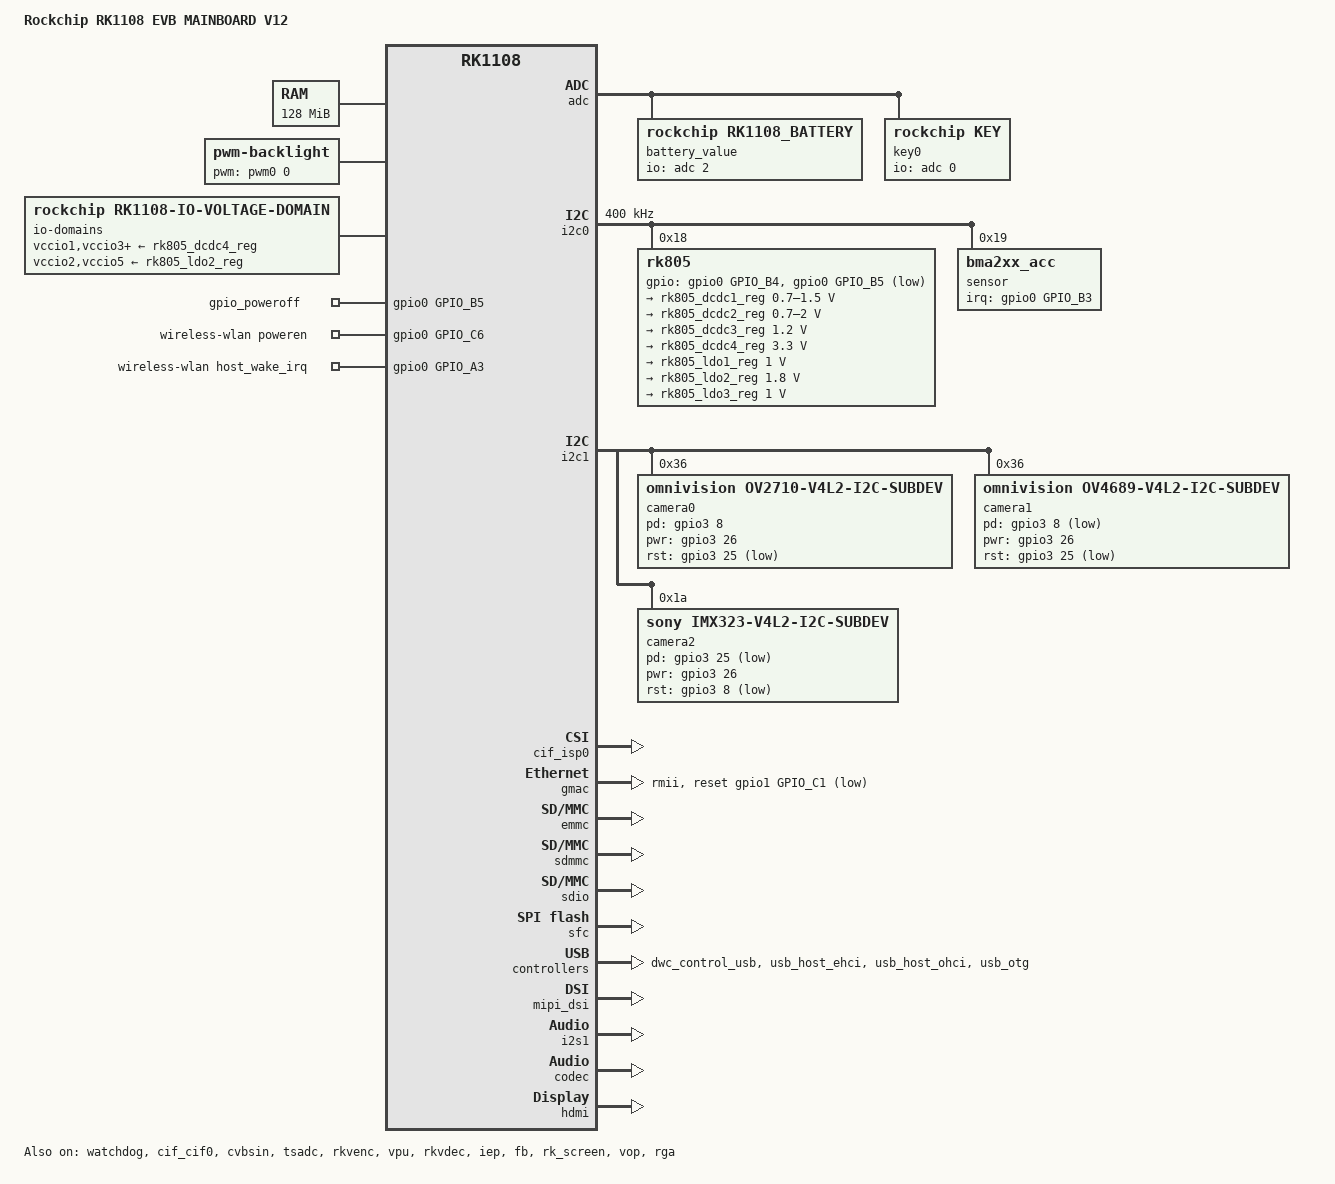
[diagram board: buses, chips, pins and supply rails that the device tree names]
/*
 * Copyright (c) 2016 Fuzhou Rockchip Electronics Co., Ltd
 *
 * This file is dual-licensed: you can use it either under the terms
 * of the GPL or the X11 license, at your option. Note that this dual
 * licensing only applies to this file, and not this project as a
 * whole.
 *
 *  a) This file is free software; you can redistribute it and/or
 *     modify it under the terms of the GNU General Public License as
 *     published by the Free Software Foundation; either version 2 of the
 *     License, or (at your option) any later version.
 *
 *     This file is distributed in the hope that it will be useful,
 *     but WITHOUT ANY WARRANTY; without even the implied warranty of
 *     MERCHANTABILITY or FITNESS FOR A PARTICULAR PURPOSE.  See the
 *     GNU General Public License for more details.
 *
 * Or, alternatively,
 *
 *  b) Permission is hereby granted, free of charge, to any person
 *     obtaining a copy of this software and associated documentation
 *     files (the "Software"), to deal in the Software without
 *     restriction, including without limitation the rights to use,
 *     copy, modify, merge, publish, distribute, sublicense, and/or
 *     sell copies of the Software, and to permit persons to whom the
 *     Software is furnished to do so, subject to the following
 *     conditions:
 *
 *     The above copyright notice and this permission notice shall be
 *     included in all copies or substantial portions of the Software.
 *
 *     THE SOFTWARE IS PROVIDED "AS IS", WITHOUT WARRANTY OF ANY KIND,
 *     EXPRESS OR IMPLIED, INCLUDING BUT NOT LIMITED TO THE WARRANTIES
 *     OF MERCHANTABILITY, FITNESS FOR A PARTICULAR PURPOSE AND
 *     NONINFRINGEMENT. IN NO EVENT SHALL THE AUTHORS OR COPYRIGHT
 *     HOLDERS BE LIABLE FOR ANY CLAIM, DAMAGES OR OTHER LIABILITY,
 *     WHETHER IN AN ACTION OF CONTRACT, TORT OR OTHERWISE, ARISING
 *     FROM, OUT OF OR IN CONNECTION WITH THE SOFTWARE OR THE USE OR
 *     OTHER DEALINGS IN THE SOFTWARE.
 */

/dts-v1/;

#include "rk1108.dtsi"
#include "lcd-e555hbm2_mipi.dtsi"
#include "dt-bindings/suspend/rockchip-pm.h"

/ {
	model = "Rockchip RK1108 EVB MAINBOARD V12";
	compatible = "rockchip,rk1108-evb-v12", "rockchip,rk1108";

	memory {
		device_type = "memory";
		reg = <0x60000000 0x08000000>;
	};

	fiq-debugger {
		status = "okay";
		rockchip,serial-id = <2>;
		pinctrl-0 = <&uart2m0_xfer>;
	};

	rockchip_suspend: rockchip_suspend {
		rockchip,ctrbits = <
			(0
			|RKPM_CTR_GTCLKS
			|RKPM_CTR_PLLS
			/*|RKPM_CTR_ARMOFF_LPMD*/
			|RKPM_CTR_ARMLOGDP_LPMD
			/*|RKPM_CTR_IDLESRAM_MD*/
			|RKPM_CTR_DDR
			|RKPM_CTR_PMIC
			/*|RKPM_CTR_BUS_IDLE*/
			|RKPM_CTR_SYSCLK_32K
			)
			>;
		rockchip,pmic-suspend_gpios = <0>;
	};

	chosen {
		bootargs = "rockchip_jtag noinitrd root=/dev/rootfs rootfstype=squashfs";
	};

	ion {
		compatible = "rockchip,ion";
		#address-cells = <1>;
		#size-cells = <0>;

		/* memory region for dsp pool, start from 0x62000000 */
		dsp {
			compatible = "rockchip,ion-heap";
			rockchip,ion_heap = <2>;
			reg = <0x62000000 0x100000>; /* 1MB@32M */
		};
		ion_cma: rockchip,ion-heap@4 { /* CMA HEAP */
			compatible = "rockchip,ion-heap";
			rockchip,ion_heap = <4>;
			reg = <0x00000000 0x04000000>; /* 64MB */
		};
		rockchip,ion-heap@0 { /* VMALLOC HEAP */
			compatible = "rockchip,ion-heap";
			rockchip,ion_heap = <0>;
		};
	};

	backlight {
		compatible = "pwm-backlight";
		pwms = <&pwm0 0 25000>;
		brightness-levels = <
			  0   1   2   3   4   5   6   7
			  8   9  10  11  12  13  14  15
			 16  17  18  19  20  21  22  23
			 24  25  26  27  28  29  30  31
			 32  33  34  35  36  37  38  39
			 40  41  42  43  44  45  46  47
			 48  49  50  51  52  53  54  55
			 56  57  58  59  60  61  62  63
			 64  65  66  67  68  69  70  71
			 72  73  74  75  76  77  78  79
			 80  81  82  83  84  85  86  87
			 88  89  90  91  92  93  94  95
			 96  97  98  99 100 101 102 103
			104 105 106 107 108 109 110 111
			112 113 114 115 116 117 118 119
			120 121 122 123 124 125 126 127
			128 129 130 131 132 133 134 135
			136 137 138 139 140 141 142 143
			144 145 146 147 148 149 150 151
			152 153 154 155 156 157 158 159
			160 161 162 163 164 165 166 167
			168 169 170 171 172 173 174 175
			176 177 178 179 180 181 182 183
			184 185 186 187 188 189 190 191
			192 193 194 195 196 197 198 199
			200 201 202 203 204 205 206 207
			208 209 210 211 212 213 214 215
			216 217 218 219 220 221 222 223
			224 225 226 227 228 229 230 231
			232 233 234 235 236 237 238 239
			240 241 242 243 244 245 246 247
			248 249 250 251 252 253 254 255>;
		default-brightness-level = <200>;
	};

	io-domains {
		compatible = "rockchip,rk1108-io-voltage-domain";
		rockchip,grf = <&grf>;
		rockchip,pmugrf = <&pmugrf>;

		/* GRF_IO_VSEL */
		status = "okay";
		vccio1-supply = <&rk805_dcdc4_reg>;
		vccio2-supply = <&rk805_ldo2_reg>;
		vccio3-supply = <&rk805_dcdc4_reg>;
		vccio5-supply = <&rk805_ldo2_reg>;
		vccio6-supply = <&rk805_dcdc4_reg>;

		/* PMU_GRF_IO_VSEL */
		pmu-supply = <&rk805_dcdc4_reg>;
	};

	/* pmic_sleep */
	gpio_poweroff {
		compatible = "gpio-poweroff";
		gpios = <&gpio0 GPIO_B5 GPIO_ACTIVE_HIGH>;
		status = "okay";
	};

	wireless-wlan {
		compatible = "wlan-platdata";
		wifi_chip_type = "rtl8723cs";
		sdio_vref = <0>;
		WIFI,poweren_gpio = <&gpio0 GPIO_C6 GPIO_ACTIVE_HIGH>;
		WIFI,host_wake_irq = <&gpio0 GPIO_A3 GPIO_ACTIVE_HIGH>;
		status = "okay";
	};

	rockchip_audio {
		compatible = "rockchip,rk1108-audio";
		dais {
			dai0 {
				audio-codec = <&codec>;
				audio-controller = <&i2s1>;
				format = "i2s";
			};
		};
	};
};

&clk_core_dvfs_table {

	operating-points = <
		/* KHz	  uV */
		408000 1000000
		600000 1000000
		816000 1000000
		1008000 1150000
		>;
	status = "okay";
};

&watchdog {
	status = "okay";
	rockchip,timeout = <5>;
	rockchip,atboot = <0>;
};

&adc {
	status = "okay";

	battery_value {
		compatible = "rockchip,rk1108_battery";
		io-channels = <&adc 2>;
		battery-levels = <
			3800 3853 3856 3859 3862 3865 3868 3871 3874 3877
			3880 3883 3886 3389 3892 3895 3898 3901 3904 3907
			3910 3913 3916 3919 3922 3925 3928 3931 3934 3937
			3940 3943 3946 3949 3952 3955 3958 3961 3964 3967
			3970 3973 3976 3979 3982 3985 3988 3991 3994 3997
			4000 4003 4006 4009 4012 4015 4018 4021 4024 4027
			4030 4033 4036 4039 4042 4045 4048 4051 4054 4057
			4060 4063 4066 4069 4072 4075 4080 4085 4090 4095
			4100 4105 4110 4115 4120 4125 4130 4135 4140 4145
			4150 4155 4160 4165 4170 4175 4180 4185 4190 4200>;
	};

	key0 {
		compatible = "rockchip,key";
		io-channels = <&adc 0>;
		adc-drift = <45>;

		tab-key {
			linux,code = <15>;
			label = "tab";
			rockchip,adc_value = <685>;
		};

		enter-key {
			linux,code = <28>;
			label = "volume down";
			rockchip,adc_value = <802>;
		};

		up-key {
			linux,code = <103>;
			label = "up";
			rockchip,adc_value = <238>;
		};

		down-key {
			linux,code = <108>;
			label = "down";
			rockchip,adc_value = <353>;
		};

		left-key {
			linux,code = <105>;
			label = "left";
			rockchip,adc_value = <465>;
		};

		right-key {
			linux,code = <106>;
			label = "right";
			rockchip,adc_value = <109>;
		};

		menu-key {
			linux,code = <127>;
			label = "menu";
			rockchip,adc_value = <581>;
		};

		esc-key {
			linux,code = <1>;
			label = "esc";
			rockchip,adc_value = <1>;
		};
	};
};

&i2c0 {
	status = "okay";

	i2c-scl-rising-time-ns = <275>;
	i2c-scl-falling-time-ns = <16>;
	clock-frequency = <400000>;

	rk805: rk805@18 {
		reg = <0x18>;
		status = "okay";
	};

	sensor: sensor@19 {
		compatible = "bma2xx_acc";
		reg = <0x19>;
		type = <2>;
		irq-gpio = <&gpio0 GPIO_B3 IRQ_TYPE_LEVEL_HIGH>;
		irq_enable = <0>;
		poll_delay_ms = <30>;
		layout = <2>;
		status = "okay";
	};

	nvp6124: nvp6124@30 {
		status = "disabled";
		compatible = "rockchip,nvp";
		reg = <0x30>;
		device_type = "v4l2-i2c-subdev";
		/* 1 or 2 or 4 */
		channels = <4>;
		/* 1.8v or 3.3v */
		apio_vol = <3300>;
		/* PAL or NTSC */
		cvbs_mode = "PAL";
		reset-gpio = <&gpio3 GPIO_C6 GPIO_ACTIVE_LOW>;
		irq-gpio = <&gpio3 GPIO_D3 GPIO_ACTIVE_HIGH>;
		pinctrl-names = "default", "sleep";
		pinctrl-0 = <&cif_dvp_d2d9 &cif_dvp_clk>;
		pinctrl-1 = <&cif_dvp_sleep>;
	};

	mpu6500: mpu6500@68 {
		status = "disabled";
		compatible = "invensense,mpu6500";
		reg = <0x68>;
		mpu-int_config = <0x10>;
		mpu-level_shifter = <0>;
		mpu-orientation = <1 0 0 0 1 0 0 0 1>;
		orientation-x= <1>;
		orientation-y= <1>;
		orientation-z= <0>;
		support-hw-poweroff = <1>;
		mpu-debug = <1>;
	};
};

&i2c1 {
	status = "okay";
	camera0: camera-module@36 {
		status = "okay";
		compatible = "omnivision,ov2710-v4l2-i2c-subdev";
		reg = <0x36>;
		device_type = "v4l2-i2c-subdev";
		clocks = <&clk_mipicsi_out>;
		clock-names = "clk_mipicsi_out";
		pinctrl-names = "rockchip,camera_default", "rockchip,camera_sleep";
		pinctrl-0 = <&cam0_default_pins>;
		pinctrl-1 = <&cam0_sleep_pins>;
		rockchip,pd-gpio = <&gpio3 8 GPIO_ACTIVE_HIGH>;
		rockchip,pwr-gpio = <&gpio3 26 GPIO_ACTIVE_HIGH>;
		rockchip,rst-gpio = <&gpio3 25 GPIO_ACTIVE_LOW>;
		rockchip,camera-module-mclk-name = "clk_mipicsi_out";
		rockchip,camera-module-regulator-names = "vdd_cam", "avdd_cam";
		rockchip,camera-module-regulator-voltages = <1450000 3300000>;
		rockchip,camera-module-facing = "back";
		rockchip,camera-module-name = "LA6110PA";
		rockchip,camera-module-len-name = "YM6011P";
		rockchip,camera-module-fov-h = "128";
		rockchip,camera-module-fov-v = "55.7";
		rockchip,camera-module-orientation = <0>;
		rockchip,camera-module-iq-flip = <0>;
		rockchip,camera-module-iq-mirror = <0>;
		rockchip,camera-module-flip = <0>;
		rockchip,camera-module-mirror = <0>;
		/* resolution.w, resolution.h, defrect.left, defrect.top, defrect.w, defrect.h */
		rockchip,camera-module-defrect0 = <1920 1080 0 0 1920 1080>;
		rockchip,camera-module-flash-support = <0>;
		rockchip,camera-module-mipi-dphy-index = <0>;
	};

	camera1: camera-module@36-1 {
		status = "okay";
		compatible = "omnivision,ov4689-v4l2-i2c-subdev";
		reg = <0x36>;
		device_type = "v4l2-i2c-subdev";
		clocks = <&clk_mipicsi_out>;
		clock-names = "clk_mipicsi_out";
		pinctrl-names = "rockchip,camera_default", "rockchip,camera_sleep";
		pinctrl-0 = <&cam0_default_pins>;
		pinctrl-1 = <&cam0_sleep_pins>;
		rockchip,pd-gpio = <&gpio3 8 GPIO_ACTIVE_LOW>;
		rockchip,pwr-gpio = <&gpio3 26 GPIO_ACTIVE_HIGH>;
		rockchip,rst-gpio = <&gpio3 25 GPIO_ACTIVE_LOW>;
		rockchip,camera-module-mclk-name = "clk_mipicsi_out";
		rockchip,camera-module-regulator-names = "vdd_cam", "avdd_cam";
		rockchip,camera-module-regulator-voltages = <1200000 2800000>;
		rockchip,camera-module-facing = "back";
		rockchip,camera-module-name = "LA6111PA";
		rockchip,camera-module-len-name = "YM6011P";
		rockchip,camera-module-fov-h = "116";
		rockchip,camera-module-fov-v = "61";
		rockchip,camera-module-orientation = <0>;
		rockchip,camera-module-iq-flip = <0>;
		rockchip,camera-module-iq-mirror = <0>;
		rockchip,camera-module-flip = <0>;
		rockchip,camera-module-mirror = <1>;
		/* resolution.w, resolution.h, defrect.left, defrect.top, defrect.w, defrect.h */
		rockchip,camera-module-defrect0 = <2688 1520 0 0 2688 1520>;
		rockchip,camera-module-flash-support = <0>;
		rockchip,camera-module-mipi-dphy-index = <0>;
	};

	camera2: camera-module@1a {
		status = "okay";
		compatible = "sony,imx323-v4l2-i2c-subdev";
		reg = <0x1a>;
		device_type = "v4l2-i2c-subdev";
		clocks = <&clk_cif_out>;
		clock-names = "clk_cif_out";
		pinctrl-names = "rockchip,camera_default", "rockchip,camera_sleep";
		pinctrl-0 = <&cif_dvp_d0d1 &cif_dvp_d2d9 &cif_dvp_d10d11 &cif_dvp_clk &cif_dvp_sync>;
		pinctrl-1 = <&cif_dvp_sleep>;
		rockchip,pd-gpio = <&gpio3 25 GPIO_ACTIVE_LOW>;
		rockchip,pwr-gpio = <&gpio3 26 GPIO_ACTIVE_HIGH>;
		rockchip,rst-gpio = <&gpio3 8 GPIO_ACTIVE_LOW>;
		rockchip,camera-module-mclk-name = "clk_cif_out";
		rockchip,camera-module-regulator-names = "vdd_cam", "avdd_cam";
		rockchip,camera-module-regulator-voltages = <1200000 2700000>;
		rockchip,camera-module-facing = "back";
		rockchip,camera-module-name = "LA6114PA";
		rockchip,camera-module-len-name = "YM6011P";
		rockchip,camera-module-fov-h = "122";
		rockchip,camera-module-fov-v = "63";
		rockchip,camera-module-orientation = <0>;
		rockchip,camera-module-iq-flip = <0>;
		rockchip,camera-module-iq-mirror = <0>;
		rockchip,camera-module-flip = <0>;
		rockchip,camera-module-mirror = <0>;
		/* resolution.w, resolution.h, defrect.left, defrect.top, defrect.w, defrect.h */
		rockchip,camera-module-defrect0 = <2200 1125 48 13 1920 1080>;
		rockchip,camera-module-flash-support = <0>;
	};
};

&cif1to4 {
	status = "disabled";
};

&cif_cif0 {
	rockchip,camera-modules-attached = <&nvp6124 &cvbsin>;
	status = "okay";
};

&cif_cif1 {
	rockchip,camera-modules-attached = <&nvp6124>;
	status = "disabled";
};

&cif_cif2 {
	rockchip,camera-modules-attached = <&nvp6124>;
	status = "disabled";
};

&cif_cif3 {
	rockchip,camera-modules-attached = <&nvp6124>;
	status = "disabled";
};

&cif_isp0 {
	rockchip,camera-modules-attached = <&camera0 &camera1 &camera2>;
	status = "okay";
};

&cvbsin {
	status = "okay";
};

&gmac_clkin {
	clock-frequency = <50000000>;
};

&gmac {
	status = "okay";

	/* pmu_regulator = "act_ldo5"; */
	/* power-gpio = <&gpio0 GPIO_A6 GPIO_ACTIVE_HIGH>; */
	reset-gpio = <&gpio1 GPIO_C1 GPIO_ACTIVE_LOW>;

	phy-mode = "rmii";
	clock_in_out = "output";
};

&pwm0 {
	status = "disabled";
};

&emmc {
	clock-frequency = <50000000>;
	clock-freq-min-max = <400000 50000000>;
	supports-highspeed;
	supports-emmc;
	bootpart-no-access;
	supports-DDR_MODE;
	caps2-mmc-hs200;
	ignore-pm-notify;
	keep-power-in-suspend;
	status = "okay";
};

&sdmmc {
	clock-frequency = <50000000>;
	clock-freq-min-max = <200000 50000000>;
	supports-highspeed;
	supports-sd;
	broken-cd;
	card-detect-delay = <200>;
	ignore-pm-notify;
	keep-power-in-suspend;
	power-inverted;
	status = "okay";
};

&sdio {
	clock-frequency = <50000000>;
	clock-freq-min-max = <200000 50000000>;
	supports-highspeed;
	supports-sdio;
	ignore-pm-notify;
	keep-power-in-suspend;
	cap-sdio-irq;
	status = "okay";
};

&sfc {
	status = "okay";
};

#include "rk805.dtsi"
&rk805 {
	gpios = <&gpio0 GPIO_B4 GPIO_ACTIVE_HIGH>, <&gpio0 GPIO_B5 GPIO_ACTIVE_LOW>;
	rk805,system-power-controller;
	rk805,support_dc_chg = <1>; /* 1: dc chg; 0: usb chg */

	regulators {
		rk805_dcdc1_reg: regulator@0 {
			regulator-name= "vdd_core";
			regulator-min-microvolt = <700000>;
			regulator-max-microvolt = <1500000>;
			regulator-initial-mode = <0x2>;
			regulator-initial-state = <3>;
			regulator-boot-on;
			regulator-always-on;
			regulator-state-mem {
				regulator-state-mode = <0x2>;
				regulator-state-enabled;
				regulator-state-uv = <900000>;
			};
		};

		rk805_dcdc2_reg: regulator@1 {
			regulator-name= "vdd_cam";
			regulator-min-microvolt = <700000>;
			regulator-max-microvolt = <2000000>;
			regulator-initial-mode = <0x1>;
			regulator-initial-state = <3>;
			regulator-state-mem {
				regulator-state-disabled;
			};
		};

		rk805_dcdc3_reg: regulator@2 {
			regulator-name= "vcc_ddr";
			regulator-min-microvolt = <1200000>;
			regulator-max-microvolt = <1200000>;
			regulator-initial-mode = <0x2>;
			regulator-initial-state = <3>;
			regulator-boot-on;
			regulator-always-on;
			regulator-state-mem {
				regulator-state-mode = <0x2>;
				regulator-state-enabled;
				regulator-state-uv = <1200000>;
			};
		};

		rk805_dcdc4_reg: regulator@3 {
			regulator-name= "vcc_io";
			regulator-min-microvolt = <3300000>;
			regulator-max-microvolt = <3300000>;
			regulator-initial-mode = <0x2>;
			regulator-initial-state = <3>;
			regulator-boot-on;
			regulator-always-on;
			regulator-state-mem {
				regulator-state-mode = <0x2>;
				regulator-state-enabled;
				regulator-state-uv = <3300000>;
			};
		};

		rk805_ldo1_reg: regulator@4 {
			regulator-name= "vdd_10";
			regulator-min-microvolt = <1000000>;
			regulator-max-microvolt = <1000000>;
			regulator-initial-state = <3>;
			regulator-boot-on;
			regulator-always-on;
			regulator-state-mem {
				regulator-state-enabled;
				regulator-state-uv = <1000000>;
			};
		};

		rk805_ldo2_reg: regulator@5 {
			regulator-name= "vcc_18";
			regulator-min-microvolt = <1800000>;
			regulator-max-microvolt = <1800000>;
			regulator-initial-state = <3>;
			regulator-boot-on;
			regulator-always-on;
			regulator-state-mem {
				regulator-state-enabled;
				regulator-state-uv = <1800000>;
			};
		};

		rk805_ldo3_reg: regulator@6 {
			regulator-name= "vdd10_pmu";
			regulator-min-microvolt = <1000000>;
			regulator-max-microvolt = <1000000>;
			regulator-initial-state = <3>;
			regulator-boot-on;
			regulator-always-on;
			regulator-state-mem {
				regulator-state-enabled;
				regulator-state-uv = <1000000>;
			};
		};
	};
};

&dwc_control_usb {
	vbus_drv = <&gpio0 GPIO_B0 GPIO_ACTIVE_LOW>;
	rockchip,remote_wakeup;
	rockchip,usb_irq_wakeup;
	status = "okay";
};

&tsadc {
	status = "okay";
};

&usb_host_ehci {
	status = "okay";
};

&usb_host_ohci {
	status = "okay";
};

&usb_otg {
	status = "okay";
};

&rkvenc {
	status = "okay";
};

&vpu {
	status = "okay";
};

&rkvdec {
	status = "okay";
};

&iep {
	status = "okay";
};

&fb {
	status = "okay";
};

&rk_screen {
	status = "okay";
};

&mipi_dsi {
	status = "okay";
};

&vop {
	status = "okay";
	pinctrl-names = "default", "gpio";
	pinctrl-0 = <&lcdc_mipi_data>;
	pinctrl-1 = <&lcdc_mipi_gpio>;
	power_ctr: power_ctr {
		rockchip,debug = <0>;
		/*
		lcd_en: lcd_en {
			rockchip,power_type = <GPIO>;
			gpios = <&gpio3 GPIO_C4 GPIO_ACTIVE_HIGH>;
			rockchip,delay = <10>;
		};
		*/
	};
};

&rga {
	status = "okay";
};

&i2s1 {
	status = "okay";
};

&codec {
	spk_ctl_io = <&gpio0 GPIO_A5 GPIO_ACTIVE_HIGH>;
	status = "okay";
};

&hdmi {
	status = "okay";
};
